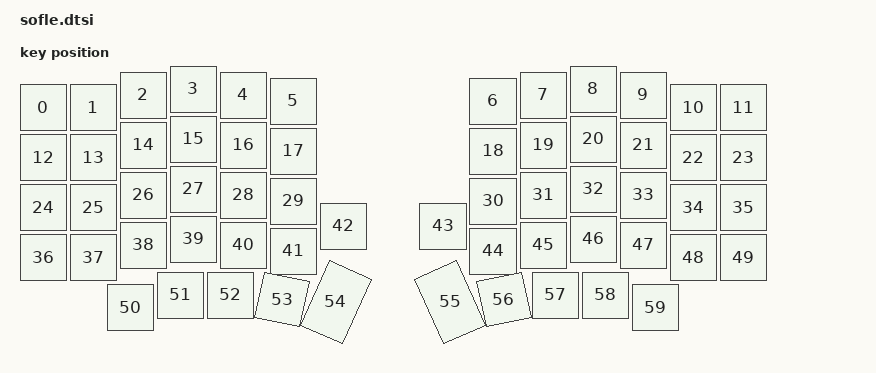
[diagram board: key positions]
#include <physical_layouts.dtsi>

/ {
    josefadamcik_sofle_layout: josefadamcik_sofle_layout {
        compatible = "zmk,physical-layout";
        display-name = "Sofle";

        keys  //                     w   h    x    y     rot    rx    ry
            = <&key_physical_attrs 100 100    0   37       0     0     0>
            , <&key_physical_attrs 100 100  100   37       0     0     0>
            , <&key_physical_attrs 100 100  200   12       0     0     0>
            , <&key_physical_attrs 100 100  300    0       0     0     0>
            , <&key_physical_attrs 100 100  400   12       0     0     0>
            , <&key_physical_attrs 100 100  500   24       0     0     0>
            , <&key_physical_attrs 100 100  900   24       0     0     0>
            , <&key_physical_attrs 100 100 1000   12       0     0     0>
            , <&key_physical_attrs 100 100 1100    0       0     0     0>
            , <&key_physical_attrs 100 100 1200   12       0     0     0>
            , <&key_physical_attrs 100 100 1300   37       0     0     0>
            , <&key_physical_attrs 100 100 1400   37       0     0     0>
            , <&key_physical_attrs 100 100    0  137       0     0     0>
            , <&key_physical_attrs 100 100  100  137       0     0     0>
            , <&key_physical_attrs 100 100  200  112       0     0     0>
            , <&key_physical_attrs 100 100  300  100       0     0     0>
            , <&key_physical_attrs 100 100  400  112       0     0     0>
            , <&key_physical_attrs 100 100  500  124       0     0     0>
            , <&key_physical_attrs 100 100  900  124       0     0     0>
            , <&key_physical_attrs 100 100 1000  112       0     0     0>
            , <&key_physical_attrs 100 100 1100  100       0     0     0>
            , <&key_physical_attrs 100 100 1200  112       0     0     0>
            , <&key_physical_attrs 100 100 1300  137       0     0     0>
            , <&key_physical_attrs 100 100 1400  137       0     0     0>
            , <&key_physical_attrs 100 100    0  237       0     0     0>
            , <&key_physical_attrs 100 100  100  237       0     0     0>
            , <&key_physical_attrs 100 100  200  212       0     0     0>
            , <&key_physical_attrs 100 100  300  200       0     0     0>
            , <&key_physical_attrs 100 100  400  212       0     0     0>
            , <&key_physical_attrs 100 100  500  224       0     0     0>
            , <&key_physical_attrs 100 100  900  224       0     0     0>
            , <&key_physical_attrs 100 100 1000  212       0     0     0>
            , <&key_physical_attrs 100 100 1100  200       0     0     0>
            , <&key_physical_attrs 100 100 1200  212       0     0     0>
            , <&key_physical_attrs 100 100 1300  237       0     0     0>
            , <&key_physical_attrs 100 100 1400  237       0     0     0>
            , <&key_physical_attrs 100 100    0  337       0     0     0>
            , <&key_physical_attrs 100 100  100  337       0     0     0>
            , <&key_physical_attrs 100 100  200  312       0     0     0>
            , <&key_physical_attrs 100 100  300  300       0     0     0>
            , <&key_physical_attrs 100 100  400  312       0     0     0>
            , <&key_physical_attrs 100 100  500  324       0     0     0>
            , <&key_physical_attrs 100 100  600  274       0     0     0>
            , <&key_physical_attrs 100 100  800  274       0     0     0>
            , <&key_physical_attrs 100 100  900  324       0     0     0>
            , <&key_physical_attrs 100 100 1000  312       0     0     0>
            , <&key_physical_attrs 100 100 1100  300       0     0     0>
            , <&key_physical_attrs 100 100 1200  312       0     0     0>
            , <&key_physical_attrs 100 100 1300  337       0     0     0>
            , <&key_physical_attrs 100 100 1400  337       0     0     0>
            , <&key_physical_attrs 100 100  175  437       0     0     0>
            , <&key_physical_attrs 100 100  275  412       0     0     0>
            , <&key_physical_attrs 100 100  375  412       0     0     0>
            , <&key_physical_attrs 100 100  490  412    1200   490   412>
            , <&key_physical_attrs 100 150  600  383    2400   600   433>
            , <&key_physical_attrs 100 150  800  383  (-2400)  900   433>
            , <&key_physical_attrs 100 100  910  412  (-1200) 1010   412>
            , <&key_physical_attrs 100 100  1025 412       0     0     0>
            , <&key_physical_attrs 100 100  1125 412       0     0     0>
            , <&key_physical_attrs 100 100  1225 437       0     0     0>
        ;
    };
};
